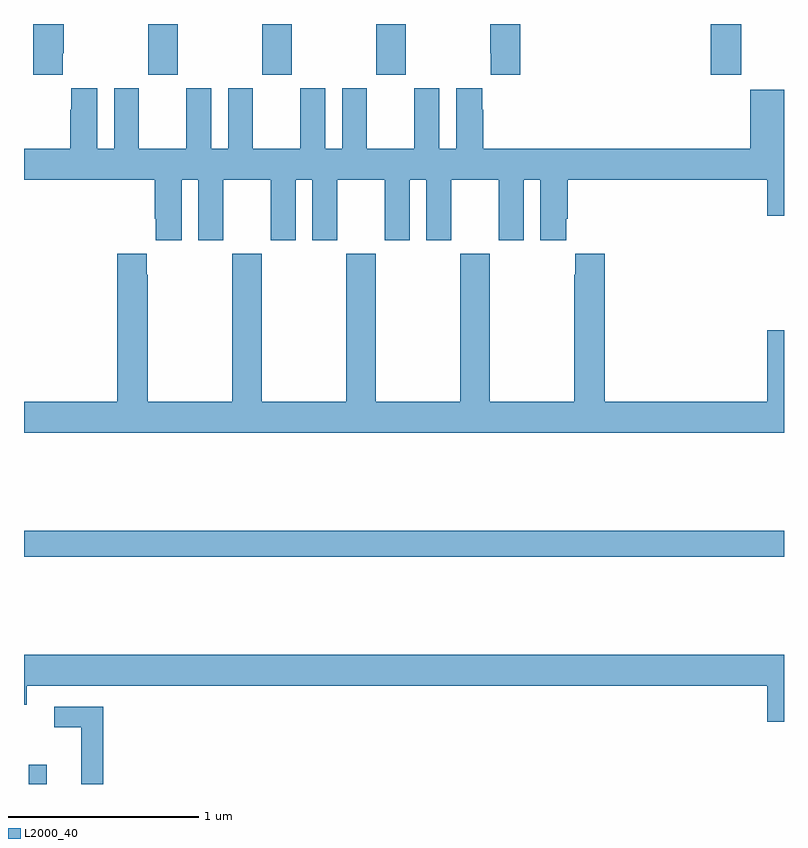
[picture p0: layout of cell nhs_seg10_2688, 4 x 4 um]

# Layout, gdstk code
import gdstk
lib = gdstk.Library(unit=1e-6, precision=1e-09)
def R(c, l, rs):  # rectangles x0, y0, x1, y1
    for r in rs: c.add(gdstk.rectangle(r[:2], r[2:], *l))
def A(c, l, x, y, w, h, nx, ny, dx, dy):  # array of equal rectangles
    R(c, l, [(x+i*dx, y+j*dy, x+i*dx+w, y+j*dy+h) for i in range(nx) for j in range(ny)])
def P(c, l, *ps):  # polygons
    for p in ps: c.add(gdstk.Polygon(p, *l))
L2000_40 = (2000, 40)

nhs_seg10_2688 = lib.new_cell('nhs_seg10_2688')
A(nhs_seg10_2688, L2000_40, 257.653, 1270.233, 0.155, 0.267, 3, 1, 0.6, 0)
R(nhs_seg10_2688, L2000_40, [(257.025,1266.5,257.121,1266.601), (257,1267.696,261,1267.832), (260.615,1270.233,260.775,1270.5)])
P(nhs_seg10_2688, L2000_40, [(257.203,1270.345),(257.208,1270.345),(257.208,1270.5),(257.048,1270.5),(257.048,1270.233),(257.203,1270.233)],
  [(259.613,1270.5),(259.453,1270.5),(259.453,1270.345),(259.457,1270.345),(259.457,1270.233),(259.613,1270.233)],
  [(257.249,1270.162),(257.249,1270.049),(257.243,1270.049),(257.243,1269.844),(257,1269.844),(257,1269.68),(257.687,1269.68),(257.687,1269.475),(257.693,1269.475),(257.693,1269.363),(257.83,1269.363),(257.83,1269.68),(257.918,1269.68),(257.918,1269.363),(258.049,1269.363),(258.049,1269.68),(258.299,1269.68),(258.299,1269.363),(258.43,1269.363),(258.43,1269.68),(258.518,1269.68),(258.518,1269.363),(258.649,1269.363),(258.649,1269.68),(258.899,1269.68),(258.899,1269.363),(259.03,1269.363),(259.03,1269.68),(259.118,1269.68),(259.118,1269.363),(259.249,1269.363),(259.249,1269.68),(259.499,1269.68),(259.499,1269.363),(259.63,1269.363),(259.63,1269.68),(259.718,1269.68),(259.718,1269.363),(259.855,1269.363),(259.855,1269.475),(259.862,1269.475),(259.862,1269.68),(260.912,1269.68),(260.912,1269.492),(261,1269.492),(261,1270.153),(260.822,1270.153),(260.822,1269.844),(259.418,1269.844),(259.418,1270.049),(259.411,1270.049),(259.411,1270.162),(259.274,1270.162),(259.274,1269.844),(259.186,1269.844),(259.186,1270.162),(259.055,1270.162),(259.055,1269.844),(258.805,1269.844),(258.805,1270.162),(258.674,1270.162),(258.674,1269.844),(258.586,1269.844),(258.586,1270.162),(258.455,1270.162),(258.455,1269.844),(258.205,1269.844),(258.205,1270.162),(258.074,1270.162),(258.074,1269.844),(257.986,1269.844),(257.986,1270.162),(257.855,1270.162),(257.855,1269.844),(257.605,1269.844),(257.605,1270.162),(257.474,1270.162),(257.474,1269.844),(257.386,1269.844),(257.386,1270.162)],
  [(261,1268.887),(260.912,1268.887),(260.912,1268.512),(260.057,1268.512),(260.057,1269.292),(259.901,1269.292),(259.901,1269.179),(259.897,1269.179),(259.897,1268.512),(259.452,1268.512),(259.452,1269.292),(259.297,1269.292),(259.297,1268.512),(258.852,1268.512),(258.852,1269.292),(258.697,1269.292),(258.697,1268.512),(258.252,1268.512),(258.252,1269.292),(258.097,1269.292),(258.097,1268.512),(257.652,1268.512),(257.652,1269.179),(257.647,1269.179),(257.647,1269.292),(257.492,1269.292),(257.492,1268.512),(257,1268.512),(257,1268.348),(261,1268.348)],
  [(261,1267.18),(257,1267.18),(257,1266.918),(257.014,1266.918),(257.014,1267.016),(260.912,1267.016),(260.912,1266.828),(261,1266.828)],
  [(257.417,1266.906),(257.16,1266.906),(257.16,1266.798),(257.3,1266.798),(257.3,1266.5),(257.417,1266.5)])

lib.write_gds('nhs_seg10_2688.gds')
